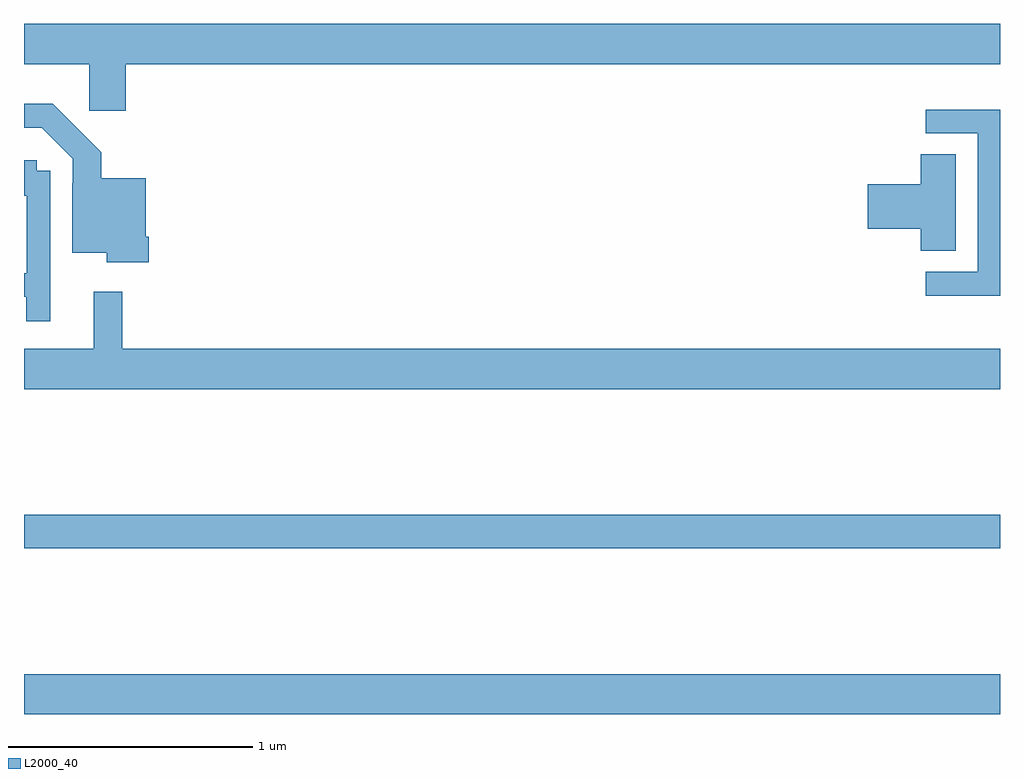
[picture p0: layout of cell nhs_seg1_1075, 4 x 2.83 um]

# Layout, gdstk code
import gdstk
lib = gdstk.Library(unit=1e-6, precision=1e-09)
def R(c, l, rs):  # rectangles x0, y0, x1, y1
    for r in rs: c.add(gdstk.rectangle(r[:2], r[2:], *l))
def P(c, l, *ps):  # polygons
    for p in ps: c.add(gdstk.Polygon(p, *l))
L2000_40 = (2000, 40)

nhs_seg1_1075 = lib.new_cell('nhs_seg1_1075')
R(nhs_seg1_1075, L2000_40, [(169,554.396,173,554.56), (169,555.076,173,555.212)])
P(nhs_seg1_1075, L2000_40, [(169.418,557.06),(173,557.06),(173,557.224),(169,557.224),(169,557.06),(169.267,557.06),(169.267,556.869),(169.418,556.869)],
  [(169.511,556.351),(169.498,556.351),(169.498,556.591),(169.316,556.591),(169.316,556.699),(169.118,556.897),(169,556.897),(169,556.799),(169.073,556.799),(169.2,556.671),(169.2,556.571),(169.197,556.571),(169.197,556.286),(169.34,556.286),(169.34,556.247),(169.511,556.247)],
  [(173,556.872),(172.695,556.872),(172.695,556.776),(172.908,556.776),(172.908,556.209),(172.695,556.209),(172.695,556.111),(173,556.111)],
  [(172.819,556.691),(172.676,556.691),(172.676,556.568),(172.458,556.568),(172.458,556.385),(172.676,556.385),(172.676,556.294),(172.819,556.294)],
  [(169.107,556.623),(169.053,556.623),(169.053,556.666),(169,556.666),(169,556.52),(169.011,556.52),(169.011,556.203),(169,556.203),(169,556.107),(169.01,556.107),(169.01,556.005),(169.107,556.005)],
  [(173,555.892),(169.403,555.892),(169.403,556.126),(169.286,556.126),(169.286,555.892),(169,555.892),(169,555.728),(173,555.728)])

lib.write_gds('nhs_seg1_1075.gds')
